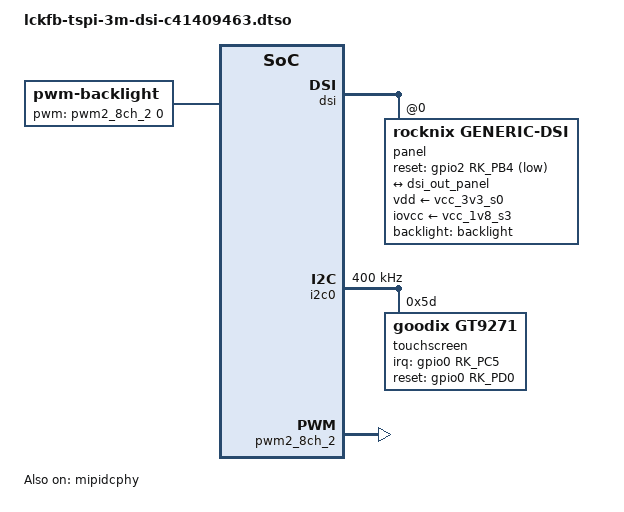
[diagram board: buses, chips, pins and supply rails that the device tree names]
// SPDX-License-Identifier: (GPL-2.0+ OR MIT)
/*
 * LCKFB TaishanPi 3M: 10.1 inch 800x1280 MIPI DSI screen with Goodix GT9271
 * touch (LCKFB-TSPI-10.1inch-MIPI-TP, LCSC C41409463).
 *
 * Panel timings and init sequence are from LCKFB's vendor kernel device
 * tree, in the form the rocknix,generic-dsi driver takes.
 */

/dts-v1/;
/plugin/;

#include <dt-bindings/gpio/gpio.h>
#include <dt-bindings/interrupt-controller/irq.h>
#include <dt-bindings/pinctrl/rockchip.h>
#include <dt-bindings/soc/rockchip,vop2.h>

&{/} {
	backlight: backlight {
		compatible = "pwm-backlight";
		pwms = <&pwm2_8ch_2 0 25000 0>;
		brightness-levels = <20 255>;
		num-interpolated-steps = <235>;
		default-brightness-level = <180>;
	};
};

&dsi {
	#address-cells = <1>;
	#size-cells = <0>;
	status = "okay";

	panel@0 {
		compatible = "rocknix,generic-dsi";
		reg = <0>;
		backlight = <&backlight>;
		reset-gpios = <&gpio2 RK_PB4 GPIO_ACTIVE_LOW>;
		pinctrl-names = "default";
		pinctrl-0 = <&lcd_rst>;
		/* mounted rotated: landscape is the panel's left side up */
		rotation = <270>;
		vdd-supply = <&vcc_3v3_s0>;
		iovcc-supply = <&vcc_1v8_s3>;

		panel_description =
			"G size=135,216 delays=20,30,10,100,20 format=rgb888 lanes=4 flags=0xa03",
			"M clock=71000 horizontal=800,52,8,48 vertical=1280,15,6,16 default=1",
			"I seq=ff988103",
			"I seq=0100",
			"I seq=0200",
			"I seq=0353",
			"I seq=0453",
			"I seq=0513",
			"I seq=0604",
			"I seq=0702",
			"I seq=0802",
			"I seq=0900",
			"I seq=0a00",
			"I seq=0b00",
			"I seq=0c00",
			"I seq=0d00",
			"I seq=0e00",
			"I seq=0f00",
			"I seq=1000",
			"I seq=1100",
			"I seq=1200",
			"I seq=1300",
			"I seq=1400",
			"I seq=1500",
			"I seq=1600",
			"I seq=1700",
			"I seq=1800",
			"I seq=1900",
			"I seq=1a00",
			"I seq=1b00",
			"I seq=1c00",
			"I seq=1d00",
			"I seq=1ec0",
			"I seq=1f00",
			"I seq=2002",
			"I seq=2109",
			"I seq=2200",
			"I seq=2300",
			"I seq=2400",
			"I seq=2500",
			"I seq=2600",
			"I seq=2700",
			"I seq=2855",
			"I seq=2903",
			"I seq=2a00",
			"I seq=2b00",
			"I seq=2c00",
			"I seq=2d00",
			"I seq=2e00",
			"I seq=2f00",
			"I seq=3000",
			"I seq=3100",
			"I seq=3200",
			"I seq=3300",
			"I seq=3400",
			"I seq=3500",
			"I seq=3600",
			"I seq=3700",
			"I seq=383c",
			"I seq=3900",
			"I seq=3a00",
			"I seq=3b00",
			"I seq=3c00",
			"I seq=3d00",
			"I seq=3e00",
			"I seq=3f00",
			"I seq=4000",
			"I seq=4100",
			"I seq=4200",
			"I seq=4300",
			"I seq=4400",
			"I seq=5001",
			"I seq=5123",
			"I seq=5245",
			"I seq=5367",
			"I seq=5489",
			"I seq=55ab",
			"I seq=5601",
			"I seq=5723",
			"I seq=5845",
			"I seq=5967",
			"I seq=5a89",
			"I seq=5bab",
			"I seq=5ccd",
			"I seq=5def",
			"I seq=5e01",
			"I seq=5f0a",
			"I seq=6002",
			"I seq=6102",
			"I seq=6208",
			"I seq=6315",
			"I seq=6414",
			"I seq=6502",
			"I seq=6611",
			"I seq=6710",
			"I seq=6802",
			"I seq=690f",
			"I seq=6a0e",
			"I seq=6b02",
			"I seq=6c0d",
			"I seq=6d0c",
			"I seq=6e06",
			"I seq=6f02",
			"I seq=7002",
			"I seq=7102",
			"I seq=7202",
			"I seq=7302",
			"I seq=7402",
			"I seq=750a",
			"I seq=7602",
			"I seq=7702",
			"I seq=7806",
			"I seq=7915",
			"I seq=7a14",
			"I seq=7b02",
			"I seq=7c10",
			"I seq=7d11",
			"I seq=7e02",
			"I seq=7f0c",
			"I seq=800d",
			"I seq=8102",
			"I seq=820e",
			"I seq=830f",
			"I seq=8408",
			"I seq=8502",
			"I seq=8602",
			"I seq=8702",
			"I seq=8802",
			"I seq=8902",
			"I seq=8a02",
			"I seq=ff988104",
			"I seq=3bc0",
			"I seq=6c15",
			"I seq=6e30",
			"I seq=6f55",
			"I seq=3a24",
			"I seq=8d1f",
			"I seq=87ba",
			"I seq=2676",
			"I seq=b2d1",
			"I seq=b507",
			"I seq=351f",
			"I seq=880b",
			"I seq=2109",
			"I seq=ff988101",
			"I seq=220a",
			"I seq=3109",
			"I seq=4033",
			"I seq=5337",
			"I seq=5538",
			"I seq=5095",
			"I seq=5195",
			"I seq=6030",
			"I seq=a00f",
			"I seq=a117",
			"I seq=a222",
			"I seq=a319",
			"I seq=a415",
			"I seq=a528",
			"I seq=a61c",
			"I seq=a71c",
			"I seq=a878",
			"I seq=a91c",
			"I seq=aa28",
			"I seq=ab69",
			"I seq=ac1a",
			"I seq=ad19",
			"I seq=ae4b",
			"I seq=af22",
			"I seq=b02a",
			"I seq=b14b",
			"I seq=b26b",
			"I seq=b33f",
			"I seq=c001",
			"I seq=c117",
			"I seq=c222",
			"I seq=c319",
			"I seq=c415",
			"I seq=c528",
			"I seq=c61c",
			"I seq=c71d",
			"I seq=c878",
			"I seq=c91c",
			"I seq=ca28",
			"I seq=cb69",
			"I seq=cc1a",
			"I seq=cd19",
			"I seq=ce4b",
			"I seq=cf22",
			"I seq=d02a",
			"I seq=d14b",
			"I seq=d26b",
			"I seq=d33f",
			"I seq=ff988100",
			"I seq=11 wait=78",
			"I seq=29 wait=14";

		port {
			panel_in_dsi: endpoint {
				remote-endpoint = <&dsi_out_panel>;
			};
		};
	};
};

&dsi_in {
	dsi_in_vp2: endpoint {
		remote-endpoint = <&vp2_out_dsi>;
	};
};

&dsi_out {
	dsi_out_panel: endpoint {
		remote-endpoint = <&panel_in_dsi>;
	};
};

&i2c0 {
	pinctrl-names = "default";
	pinctrl-0 = <&i2c0m1_xfer>;
	clock-frequency = <400000>;
	status = "okay";

	touchscreen@5d {
		compatible = "goodix,gt9271";
		reg = <0x5d>;
		interrupt-parent = <&gpio0>;
		interrupts = <RK_PC5 IRQ_TYPE_LEVEL_LOW>;
		irq-gpios = <&gpio0 RK_PC5 GPIO_ACTIVE_HIGH>;
		/*
		 * The line resets the chip when low, but the goodix driver
		 * writes 0 to reset and 1 to release, so this is ACTIVE_HIGH
		 * like on every other board using it.
		 */
		reset-gpios = <&gpio0 RK_PD0 GPIO_ACTIVE_HIGH>;
		pinctrl-names = "default";
		pinctrl-0 = <&touch_int &touch_rst>;
	};
};

&mipidcphy {
	status = "okay";
};

&pinctrl {
	lcd {
		lcd_rst: lcd-rst {
			rockchip,pins = <2 RK_PB4 RK_FUNC_GPIO &pcfg_pull_none>;
		};
	};

	touch {
		touch_int: touch-int {
			rockchip,pins = <0 RK_PC5 RK_FUNC_GPIO &pcfg_pull_up>;
		};

		touch_rst: touch-rst {
			rockchip,pins = <0 RK_PD0 RK_FUNC_GPIO &pcfg_pull_none>;
		};
	};
};

&pwm2_8ch_2 {
	pinctrl-names = "default";
	pinctrl-0 = <&pwm2m3_ch2>;
	status = "okay";
};

&vp2 {
	#address-cells = <1>;
	#size-cells = <0>;

	vp2_out_dsi: endpoint@ROCKCHIP_VOP2_EP_MIPI0 {
		reg = <ROCKCHIP_VOP2_EP_MIPI0>;
		remote-endpoint = <&dsi_in_vp2>;
	};
};
